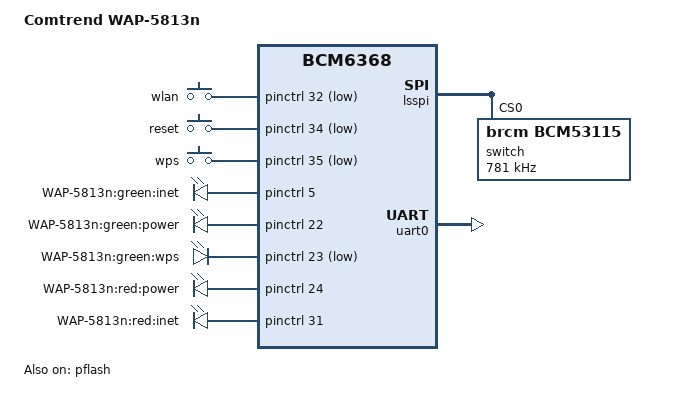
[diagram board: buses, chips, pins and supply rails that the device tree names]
/dts-v1/;

#include "bcm6368.dtsi"

#include <dt-bindings/input/input.h>

/ {
	model = "Comtrend WAP-5813n";
	compatible = "comtrend,wap-5813n", "brcm,bcm6368";

	chosen {
		bootargs = "root=/dev/mtdblock2 rootfstype=squashfs,jffs2 noinitrd console=ttyS0,115200";
		stdout-path = "serial0:115200n8";
	};

	gpio-keys-polled {
		compatible = "gpio-keys-polled";
		#address-cells = <1>;
		#size-cells = <0>;
		poll-interval = <20>;
		debounce-interval = <60>;

		wlan {
			label = "wlan";
			gpios = <&pinctrl 32 1>;
			linux,code = <KEY_WLAN>;
		};
		reset {
			label = "reset";
			gpios = <&pinctrl 34 1>;
			linux,code = <KEY_RESTART>;
		};
		wps {
			label = "wps";
			gpios = <&pinctrl 35 1>;
			linux,code = <KEY_WPS_BUTTON>;
		};
	};

	gpio-leds {
		compatible = "gpio-leds";

		inet_green {
			label = "WAP-5813n:green:inet";
			gpios = <&pinctrl 5 0>;
		};
		power_green {
			label = "WAP-5813n:green:power";
			gpios = <&pinctrl 22 0>;
			default-state = "on";
		};
		wps_green {
			label = "WAP-5813n:green:wps";
			gpios = <&pinctrl 23 1>;
		};
		power_red {
			label = "WAP-5813n:red:power";
			gpios = <&pinctrl 24 0>;
		};
		inet_red {
			label = "WAP-5813n:red:inet";
			gpios = <&pinctrl 31 0>;
		};
	};
};

&pflash {
	status = "ok";

	linux,part-probe = "bcm63xxpart";

	cfe@0 {
		label = "CFE";
		reg = <0x000000 0x010000>;
		read-only;
	};

	linux@10000 {
		label = "linux";
		reg = <0x010000 0x7e0000>;
	};

	nvram@7f0000 {
		label = "nvram";
		reg = <0x7f0000 0x010000>;
	};
};

&lsspi {
	switch@0 {
		compatible = "brcm,bcm53115";
		reg = <0>;
		spi-max-frequency = <781000>;

		lede,alias = "eth0";

		ports {
			#address-cells = <1>;
			#size-cells = <0>;

			lan@0 {
				reg = <0>;
				label = "lan4";
			};

			lan@1 {
				reg = <1>;
				label = "lan3";
			};

			lan@2 {
				reg = <2>;
				label = "lan2";
			};

			lan@3 {
				reg = <3>;
				label = "lan1";
			};

			wan@4 {
				reg = <4>;
				label = "wan";
			};

			cpu@5 {
				reg = <5>;
				label = "cpu";

				fixed-link {
					speed = <1000>;
					full-duplex;
					asym-pause;
					pause;
				};
			};
		};
	};
};

&pinctrl {
	pinctrl-names = "default";
	pinctrl-0 = <&pinctrl_pci>;
};

&uart0 {
	status = "ok";
};
